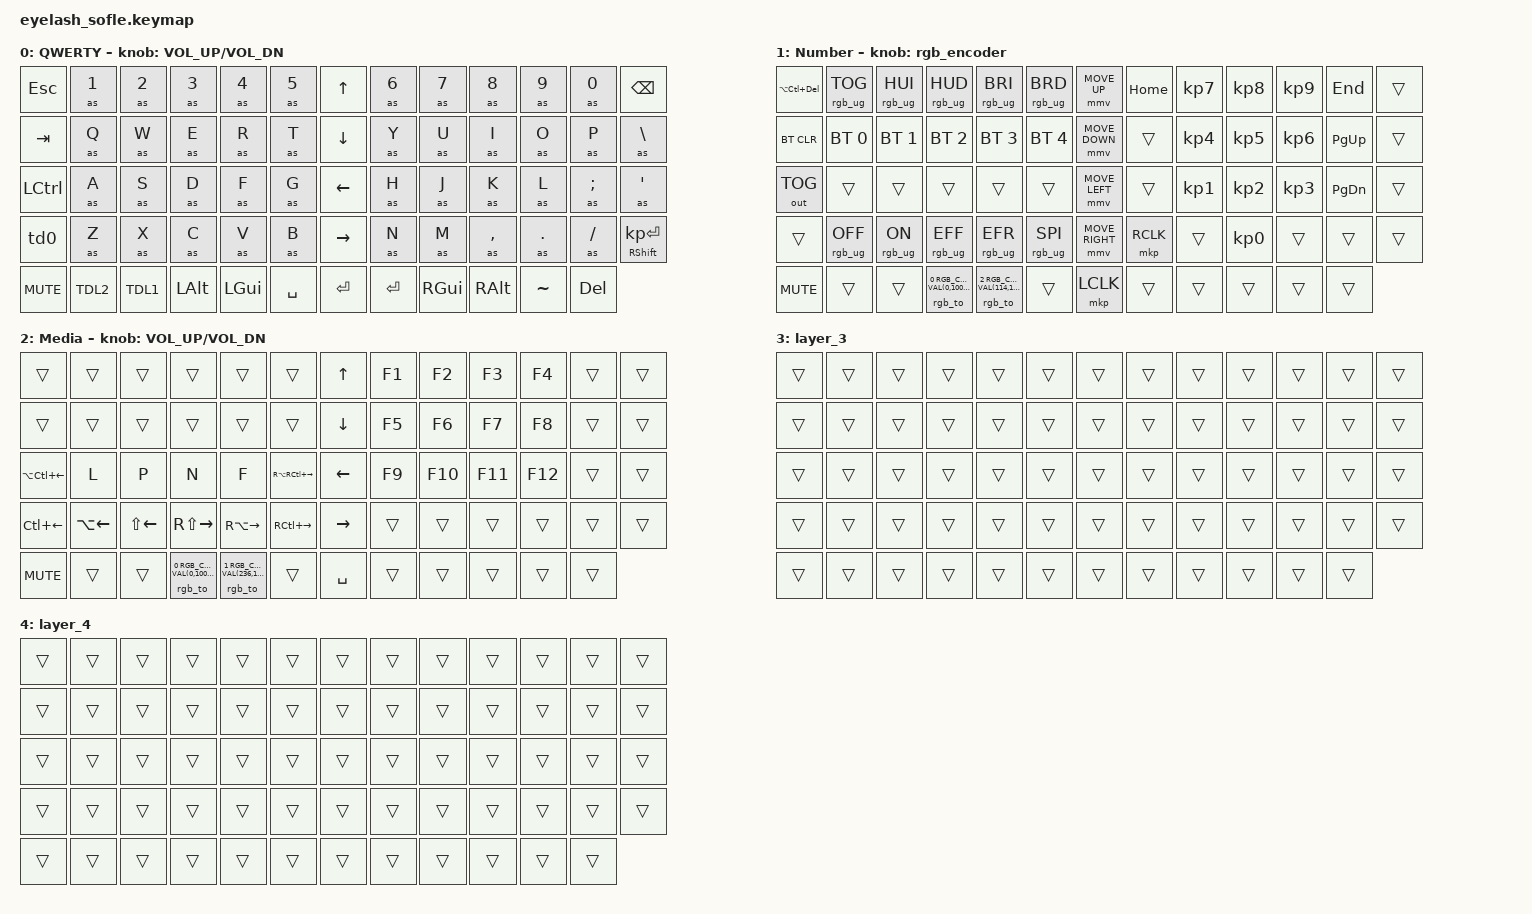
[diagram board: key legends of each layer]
#define ZMK_POINTING_DEFAULT_MOVE_VAL 1200  // 600
#define ZMK_POINTING_DEFAULT_SCRL_VAL 25   // 10

#include <input/processors.dtsi>
#include <zephyr/dt-bindings/input/input-event-codes.h>
#include <behaviors.dtsi>
#include <dt-bindings/zmk/bt.h>
#include <dt-bindings/zmk/keys.h>
#include <dt-bindings/zmk/outputs.h>
#include <dt-bindings/zmk/pointing.h>
#include <dt-bindings/zmk/rgb.h>

&mmv_input_listener { input-processors = <&zip_xy_scaler 2 1>; };

&msc_input_listener { input-processors = <&zip_scroll_scaler 2 1>; };

&msc {
    acceleration-exponent = <1>;      // 0
    time-to-max-speed-ms = <100>;       // 300
    delay-ms = <0>;                   // 0
};

&mmv {
    time-to-max-speed-ms = <500>;
    acceleration-exponent = <1>;
    trigger-period-ms = <16>;
};

/ {
    scroll_encoder: scroll_encoder {
        compatible = "zmk,behavior-sensor-rotate";
        #sensor-binding-cells = <0>;
        bindings = <&msc SCRL_DOWN>, <&msc SCRL_UP>;

        tap-ms = <100>;
    };

    as_ht: autoshift_hold_tap {
        compatible = "zmk,behavior-hold-tap";
        label = "AUTOSHIFT_HOLD_TAP";
        bindings = <&shifted>, <&kp>;

        #binding-cells = <2>;
        tapping-term-ms = <250>;
        flavor = "tap-preferred";
    };

    td0: Shift_Cap {
        compatible = "zmk,behavior-tap-dance";
        label = "Shift/Cap";
        #binding-cells = <0>;
        bindings = <&kp LSHIFT>, <&kp CAPS>;
    };

    TDL0: QWERTY_TD {
        compatible = "zmk,behavior-tap-dance";
        label = "QWERTY TD";
        #binding-cells = <0>;
        bindings =
            <&rgb_mo 0 RGB_COLOR_HSB_VAL(7,100,50)>,
            <&rgb_to 0 RGB_COLOR_HSB_VAL(0,100,50)>;
    };

    TDL1: NUM_TD {
        compatible = "zmk,behavior-tap-dance";
        label = "NUM TD";
        #binding-cells = <0>;
        bindings =
            <&rgb_mo 1 RGB_COLOR_HSB_VAL(232,100,50)>,
            <&rgb_to 1 RGB_COLOR_HSB_VAL(235,100,50)>;
    };

    TDL2: Media_TD {
        compatible = "zmk,behavior-tap-dance";
        label = "Media TD";
        #binding-cells = <0>;
        bindings =
            <&rgb_mo 2 RGB_COLOR_HSB_VAL(120,100,50)>,
            <&rgb_to 2 RGB_COLOR_HSB_VAL(126,100,50)>;
    };

    TDL3: Other_TD {
        compatible = "zmk,behavior-tap-dance";
        label = "Other TD";
        #binding-cells = <0>;
        bindings =
            <&rgb_mo 3 RGB_COLOR_HSB_VAL(289,100,50)>,
            <&rgb_to 3 RGB_COLOR_HSB_VAL(289,100,50)>;
    };

    macros {
        shifted: shifted {
            compatible = "zmk,behavior-macro-one-param";
            #binding-cells = <1>;
            bindings =
                <&macro_press>,
                <&kp LEFT_SHIFT &macro_param_1to1>,
                <&macro_press>,
                <&kp MACRO_PLACEHOLDER>,
                <&macro_release>,
                <&kp LEFT_SHIFT>;

            label = "SHIFTED";
        };

        as: as {
            compatible = "zmk,behavior-macro-one-param";
            #binding-cells = <1>;
            bindings =
                <&macro_press>,
                <&macro_param_1to1 &macro_param_1to2 &as_ht MACRO_PLACEHOLDER MACRO_PLACEHOLDER>,
                <&macro_pause_for_release>,
                <&macro_release>,
                <&macro_param_1to1 &macro_param_1to2 &as_ht MACRO_PLACEHOLDER MACRO_PLACEHOLDER>;

            label = "AS";
        };

        rgb_mo: rgb_mo {
            compatible = "zmk,behavior-macro-two-param";
            #binding-cells = <2>;
            bindings =
                <&macro_press>,
                <&macro_param_1to1 &mo MACRO_PLACEHOLDER>,
                <&macro_tap>,
                <&macro_param_2to2 &rgb_ug RGB_COLOR_HSB_CMD MACRO_PLACEHOLDER>,
                <&macro_pause_for_release>,
                <&macro_release>,
                <&macro_param_1to1 &mo MACRO_PLACEHOLDER>,
                <&macro_tap>,
                <&rgb_ug RGB_COLOR_HSB(0,100,51)>;

            label = "RGB_MO";
        };

        rgb_to: rgb_to {
            compatible = "zmk,behavior-macro-two-param";
            #binding-cells = <2>;
            bindings =
                <&macro_press>,
                <&macro_param_1to1 &to MACRO_PLACEHOLDER>,
                <&macro_tap>,
                <&macro_param_2to2 &rgb_ug RGB_COLOR_HSB_CMD MACRO_PLACEHOLDER>,
                <&macro_pause_for_release>,
                <&macro_release>,
                <&macro_param_1to1 &to MACRO_PLACEHOLDER>,
                <&macro_tap>;

            label = "RGB_TO";
        };
    };

    behaviors {
    };

    combos {
        compatible = "zmk,combos";

        Lock {
            bindings = <&kp RG(L)>;
            key-positions = <60 62>;
        };

        L_Brace {
            bindings = <&as LEFT_BRACKET>;
            key-positions = <24 23>;
        };

        R_Brace {
            bindings = <&kp RG(RIGHT_BRACKET)>;
            key-positions = <24 25>;
        };

        Minus {
            bindings = <&as MINUS>;
            key-positions = <9 10>;
        };

        Plus {
            bindings = <&as PLUS>;
            key-positions = <10 11>;
        };

        Copy {
            bindings = <&kp K_COPY>;
            key-positions = <41 42>;
        };

        Paste {
            bindings = <&as K_PASTE>;
            key-positions = <43 42>;
        };

        Paste_Win {
            bindings = <&kp LG(P)>;
            key-positions = <44 43>;
        };

        Cut {
            bindings = <&kp K_CUT>;
            key-positions = <40 41>;
        };

        Undo {
            bindings = <&kp K_UNDO>;
            key-positions = <40 39>;
        };

        New_Tab {
            bindings = <&kp LC(T)>;
            key-positions = <18 17>;
        };

        Undo_Tab {
            bindings = <&kp LS(LC(T))>;
            key-positions = <18 16>;
        };

        Close_Tab {
            bindings = <&kp LC(W)>;
            key-positions = <14 15>;
        };

        PaG_UP {
            bindings = <&kp PG_UP>;
            key-positions = <37 38>;
        };

        PaG_DN {
            bindings = <&kp PAGE_DOWN>;
            key-positions = <51 50>;
        };
    };

    keymap {
        compatible = "zmk,keymap";

        QWERTY {
            bindings = <
&kp ESC           &as N1  &as N2  &as N3        &as N4        &as N5       &kp UP_ARROW     &as N6   &as N7         &as N8         &as N9     &as N0      &kp BACKSPACE
&kp TAB           &as Q   &as W   &as E         &as R         &as T        &kp DOWN_ARROW   &as Y    &as U          &as I          &as O      &as P       &as BSLH
&kp LEFT_CONTROL  &as A   &as S   &as D         &as F         &as G        &kp LEFT_ARROW   &as H    &as J          &as K          &as L      &as SEMI    &as APOS
&td0              &as Z   &as X   &as C         &as V         &as B        &kp RIGHT_ARROW  &as N    &as M          &as COMMA      &as DOT    &as FSLH    &mt RIGHT_SHIFT KP_ENTER
&kp C_MUTE        &TDL2   &TDL1   &kp LEFT_ALT  &kp LEFT_GUI  &kp SPACE    &kp ENTER        &kp RET  &kp RIGHT_GUI  &kp RIGHT_ALT  &kp TILDE  &kp DELETE
            >;

            sensor-bindings = <&inc_dec_kp C_VOLUME_UP C_VOL_DN>;
            display-name = "QWERTY";
        };

        Number {
            bindings = <
&kp LA(LC(DELETE))  &rgb_ug RGB_TOG  &rgb_ug RGB_HUI  &rgb_ug RGB_HUD                        &rgb_ug RGB_BRI                          &rgb_ug RGB_BRD    &mmv MOVE_UP     &kp HOME   &kp KP_NUMBER_7  &kp KP_NUMBER_8  &kp KP_NUMBER_9  &kp END    &trans
&bt BT_CLR          &bt BT_SEL 0     &bt BT_SEL 1     &bt BT_SEL 2                           &bt BT_SEL 3                             &bt BT_SEL 4       &mmv MOVE_DOWN   &trans     &kp KP_NUMBER_4  &kp KP_NUMBER_5  &kp KP_NUMBER_6  &kp PG_UP  &trans
&out OUT_TOG        &trans           &trans           &trans                                 &trans                                   &trans             &mmv MOVE_LEFT   &trans     &kp KP_NUMBER_1  &kp KP_NUMBER_2  &kp KP_NUMBER_3  &kp PG_DN  &trans
&trans              &rgb_ug RGB_OFF  &rgb_ug RGB_ON   &rgb_ug RGB_EFF                        &rgb_ug RGB_EFR                          &rgb_ug RGB_SPI    &mmv MOVE_RIGHT  &mkp RCLK  &trans           &kp KP_NUMBER_0  &trans           &trans     &trans
&kp C_MUTE          &trans           &trans           &rgb_to 0 RGB_COLOR_HSB_VAL(0,100,50)  &rgb_to 2 RGB_COLOR_HSB_VAL(114,100,50)  &trans             &mkp LCLK        &trans     &trans           &trans           &trans           &trans
            >;

            display-name = "Number";
            sensor-bindings = <&rgb_encoder>;
        };

        Media {
            bindings = <
&trans              &trans              &trans        &trans                                 &trans                                   &trans               &kp UP_ARROW    &kp F1  &kp F2   &kp F3   &kp F4   &trans  &trans
&trans              &trans              &trans        &trans                                 &trans                                   &trans               &kp DOWN_ARROW  &kp F5  &kp F6   &kp F7   &kp F8   &trans  &trans
&kp LA(LC(LEFT))    &kp L               &kp P         &kp N                                  &kp F                                    &kp RA(RC(RIGHT))    &kp LEFT        &kp F9  &kp F10  &kp F11  &kp F12  &trans  &trans
&kp LC(LEFT_ARROW)  &kp LA(LEFT_ARROW)  &kp LS(LEFT)  &kp RS(RIGHT)                          &kp RA(RIGHT)                            &kp RC(RIGHT)        &kp RIGHT       &trans  &trans   &trans   &trans   &trans  &trans
&kp C_MUTE          &trans              &trans        &rgb_to 0 RGB_COLOR_HSB_VAL(0,100,50)  &rgb_to 1 RGB_COLOR_HSB_VAL(236,100,50)  &trans               &kp SPACE       &trans  &trans   &trans   &trans   &trans
            >;

            sensor-bindings = <&inc_dec_kp C_VOLUME_UP C_VOL_DN>;
        };

        layer_3 {
            bindings = <
&trans  &trans  &trans  &trans  &trans  &trans    &trans  &trans  &trans  &trans  &trans  &trans  &trans
&trans  &trans  &trans  &trans  &trans  &trans    &trans  &trans  &trans  &trans  &trans  &trans  &trans
&trans  &trans  &trans  &trans  &trans  &trans    &trans  &trans  &trans  &trans  &trans  &trans  &trans
&trans  &trans  &trans  &trans  &trans  &trans    &trans  &trans  &trans  &trans  &trans  &trans  &trans
&trans  &trans  &trans  &trans  &trans  &trans    &trans  &trans  &trans  &trans  &trans  &trans
            >;
        };

        layer_4 {
            bindings = <
&trans  &trans  &trans  &trans  &trans  &trans    &trans  &trans  &trans  &trans  &trans  &trans  &trans
&trans  &trans  &trans  &trans  &trans  &trans    &trans  &trans  &trans  &trans  &trans  &trans  &trans
&trans  &trans  &trans  &trans  &trans  &trans    &trans  &trans  &trans  &trans  &trans  &trans  &trans
&trans  &trans  &trans  &trans  &trans  &trans    &trans  &trans  &trans  &trans  &trans  &trans  &trans
&trans  &trans  &trans  &trans  &trans  &trans    &trans  &trans  &trans  &trans  &trans  &trans
            >;
        };
    };
};
